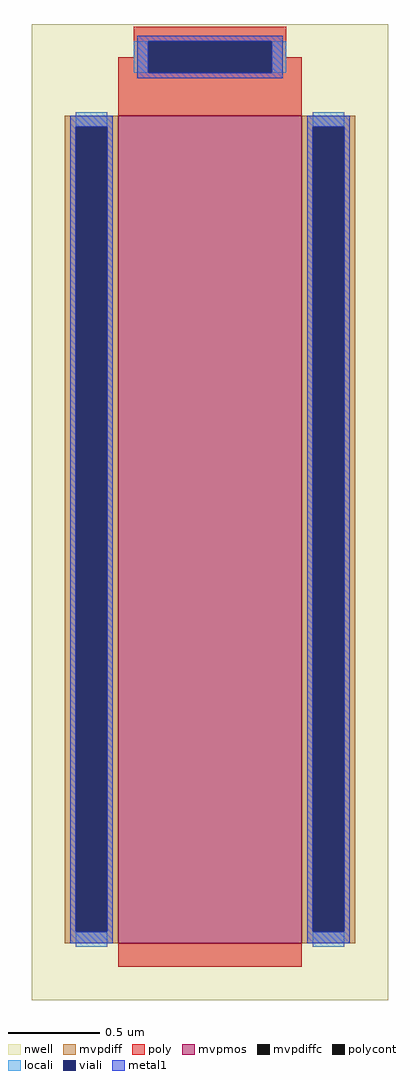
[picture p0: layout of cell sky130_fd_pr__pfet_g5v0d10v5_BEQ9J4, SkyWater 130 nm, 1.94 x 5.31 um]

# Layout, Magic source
magic
tech sky130A
magscale 1 2
<< nwell >>
rect -194 -548 194 514
<< mvpmos >>
rect -100 -486 100 414
<< mvpdiff >>
rect -158 402 -100 414
rect -158 -474 -146 402
rect -112 -474 -100 402
rect -158 -486 -100 -474
rect 100 402 158 414
rect 100 -474 112 402
rect 146 -474 158 402
rect 100 -486 158 -474
<< mvpdiffc >>
rect -146 -474 -112 402
rect 112 -474 146 402
<< poly >>
rect -83 495 83 511
rect -83 478 -67 495
rect -100 461 -67 478
rect 67 478 83 495
rect 67 461 100 478
rect -100 414 100 461
rect -100 -512 100 -486
<< polycont >>
rect -67 461 67 495
<< locali >>
rect -83 461 -67 495
rect 67 461 83 495
rect -146 402 -112 418
rect -146 -490 -112 -474
rect 112 402 146 418
rect 112 -490 146 -474
<< viali >>
rect -67 461 67 495
rect -146 -474 -112 402
rect 112 -474 146 402
<< metal1 >>
rect -79 495 79 501
rect -79 461 -67 495
rect 67 461 79 495
rect -79 455 79 461
rect -152 402 -106 414
rect -152 -474 -146 402
rect -112 -474 -106 402
rect -152 -486 -106 -474
rect 106 402 152 414
rect 106 -474 112 402
rect 146 -474 152 402
rect 106 -486 152 -474
<< properties >>
string gencell sky130_fd_pr__pfet_g5v0d10v5
string library sky130
string parameters w 4.5 l 1 m 1 nf 1 diffcov 100 polycov 80 guard 0 glc 0 grc 0 gtc 1 gbc 1 tbcov 100 rlcov 100 topc 1 botc 0 poverlap 0 doverlap 1 lmin 0.50 wmin 0.42 class mosfet compatible {sky130_fd_pr__pfet_01v8  sky130_fd_pr__pfet_01v8_lvt sky130_fd_pr__pfet_01v8_hvt  sky130_fd_pr__pfet_g5v0d10v5} full_metal 1 viasrc 100 viadrn 100 viagate 80 viagb 0 viagr 0 viagl 0 viagt 0
<< end >>
